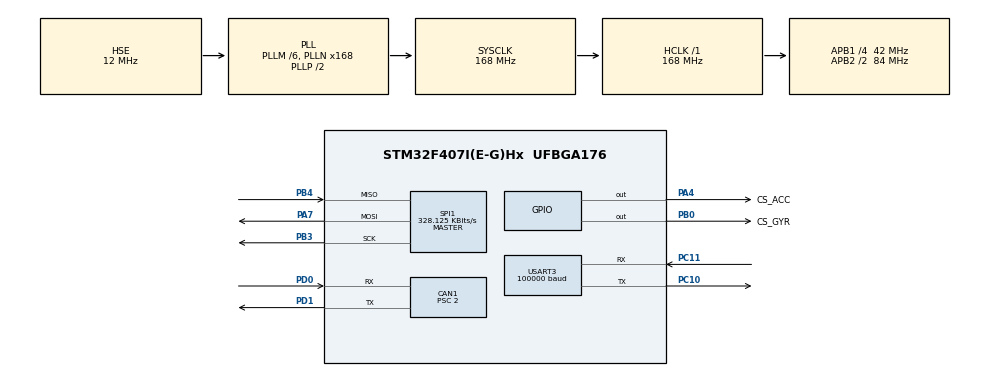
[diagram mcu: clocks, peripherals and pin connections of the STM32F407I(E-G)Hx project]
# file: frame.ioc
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CAN1.ABOM=ENABLE
CAN1.BS1=CAN_BS1_16TQ
CAN1.BS2=CAN_BS2_4TQ
CAN1.CalculateBaudRate=1000000
CAN1.CalculateTimeBit=1000
CAN1.CalculateTimeQuantum=47.61904761904762
CAN1.Prescaler=2
Dma.Request0=USART3_RX
Dma.Request1=USART3_TX
Dma.USART3_RX.0.Direction=DMA_PERIPH_TO_MEMORY
Dma.USART3_RX.0.FIFOMode=DMA_FIFOMODE_DISABLE
Dma.USART3_RX.0.Instance=DMA1_Stream1
Dma.USART3_RX.0.MemDataAlignment=DMA_MDATAALIGN_BYTE
Dma.USART3_RX.0.MemInc=DMA_MINC_ENABLE
Dma.USART3_RX.0.Mode=DMA_NORMAL
Dma.USART3_RX.0.PeriphDataAlignment=DMA_PDATAALIGN_BYTE
Dma.USART3_RX.0.PeriphInc=DMA_PINC_DISABLE
Dma.USART3_RX.0.Priority=DMA_PRIORITY_LOW
Dma.USART3_TX.1.Direction=DMA_MEMORY_TO_PERIPH
Dma.USART3_TX.1.FIFOMode=DMA_FIFOMODE_DISABLE
Dma.USART3_TX.1.Instance=DMA1_Stream3
Dma.USART3_TX.1.MemDataAlignment=DMA_MDATAALIGN_BYTE
Dma.USART3_TX.1.MemInc=DMA_MINC_ENABLE
Dma.USART3_TX.1.Mode=DMA_NORMAL
Dma.USART3_TX.1.PeriphDataAlignment=DMA_PDATAALIGN_BYTE
Dma.USART3_TX.1.PeriphInc=DMA_PINC_DISABLE
Dma.USART3_TX.1.Priority=DMA_PRIORITY_LOW
IWDG.Prescaler=IWDG_PRESCALER_8
IWDG.Reload=2668-1
Mcu.Family=STM32F4
Mcu.Name=STM32F407I(E-G)Hx
Mcu.Package=UFBGA176
NVIC.CAN1_RX0_IRQn=true\:0\:0\:false\:false\:true\:true\:true\:true
NVIC.CAN1_RX1_IRQn=true\:0\:0\:false\:false\:true\:true\:true\:true
NVIC.CAN1_SCE_IRQn=true\:0\:0\:false\:false\:true\:true\:true\:true
NVIC.CAN1_TX_IRQn=true\:0\:0\:false\:false\:true\:true\:true\:true
NVIC.DMA1_Stream1_IRQn=true\:0\:0\:false\:false\:true\:false\:true\:true
NVIC.DMA1_Stream3_IRQn=true\:0\:0\:false\:false\:true\:false\:true\:true
NVIC.PriorityGroup=NVIC_PRIORITYGROUP_4
NVIC.TIM1_BRK_TIM9_IRQn=true\:0\:0\:false\:false\:true\:true\:true\:true
NVIC.TIM1_TRG_COM_TIM11_IRQn=true\:0\:0\:false\:false\:true\:true\:true\:true
NVIC.TIM1_UP_TIM10_IRQn=true\:0\:0\:false\:false\:true\:true\:true\:true
NVIC.USART3_IRQn=true\:0\:0\:false\:false\:true\:false\:true\:true
PA13.Mode=Serial_Wire
PA13.Signal=SYS_JTMS-SWDIO
PA14.Mode=Serial_Wire
PA14.Signal=SYS_JTCK-SWCLK
PA4.GPIO_Label=CS_ACC
PA4.PinState=GPIO_PIN_SET
PA4.Signal=GPIO_Output
PA7.Mode=Full_Duplex_Master
PA7.Signal=SPI1_MOSI
PB0.GPIO_Label=CS_GYR
PB0.PinState=GPIO_PIN_SET
PB0.Signal=GPIO_Output
PB3.Mode=Full_Duplex_Master
PB3.Signal=SPI1_SCK
PB4.Mode=Full_Duplex_Master
PB4.Signal=SPI1_MISO
PC10.Mode=Asynchronous
PC10.Signal=USART3_TX
PC11.Mode=Asynchronous
PC11.Signal=USART3_RX
PD0.Mode=CAN_Activate
PD0.Signal=CAN1_RX
PD1.Mode=CAN_Activate
PD1.Signal=CAN1_TX
PH0-OSC_IN.Mode=HSE-External-Oscillator
PH0-OSC_IN.Signal=RCC_OSC_IN
PH1-OSC_OUT.Mode=HSE-External-Oscillator
PH1-OSC_OUT.Signal=RCC_OSC_OUT
ProjectManager.HeapSize=0x200
ProjectManager.StackSize=0x400
ProjectManager.TargetToolchain=STM32CubeIDE
RCC.48MHZClocksFreq_Value=84000000
RCC.AHBFreq_Value=168000000
RCC.APB1CLKDivider=RCC_HCLK_DIV4
RCC.APB1Freq_Value=42000000
RCC.APB1TimFreq_Value=84000000
RCC.APB2CLKDivider=RCC_HCLK_DIV2
RCC.APB2Freq_Value=84000000
RCC.APB2TimFreq_Value=168000000
RCC.CortexFreq_Value=168000000
RCC.HCLKFreq_Value=168000000
RCC.HSE_VALUE=12000000
RCC.HSI_VALUE=16000000
RCC.LSE_VALUE=32768
RCC.PLLM=6
RCC.PLLN=168
RCC.PLLSourceVirtual=RCC_PLLSOURCE_HSE
RCC.SYSCLKFreq_VALUE=168000000
RCC.SYSCLKSource=RCC_SYSCLKSOURCE_PLLCLK
RCC.VCOOutputFreq_Value=336000000
SPI1.BaudRatePrescaler=SPI_BAUDRATEPRESCALER_256
SPI1.CLKPhase=SPI_PHASE_2EDGE
SPI1.CLKPolarity=SPI_POLARITY_HIGH
SPI1.CalculateBaudRate=328.125 KBits/s
SPI1.Direction=SPI_DIRECTION_2LINES
SPI1.Mode=SPI_MODE_MASTER
SPI1.VirtualType=VM_MASTER
TIM1.Period=1000-1
TIM1.Prescaler=168-1
USART3.BaudRate=100000
USART3.Parity=PARITY_EVEN
USART3.VirtualMode=VM_ASYNC
USART3.WordLength=WORDLENGTH_9B
VP_IWDG_VS_IWDG.Mode=IWDG_Activate
VP_TIM1_VS_ClockSourceINT.Mode=Internal
board=custom

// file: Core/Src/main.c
/* USER CODE BEGIN Header */
/**
  ******************************************************************************
  * @file           : main.c
  * @brief          : Main program body
  ******************************************************************************
  * @attention
  *
  * Copyright (c) 2024 STMicroelectronics.
  * All rights reserved.
  *
  * This software is licensed under terms that can be found in the LICENSE file
  * in the root directory of this software component.
  * If no LICENSE file comes with this software, it is provided AS-IS.
  *
  ******************************************************************************
  */
/* USER CODE END Header */
#include "main.h"
#include "can.h"
#include "dma.h"
#include "iwdg.h"
#include "spi.h"
#include "tim.h"
#include "usart.h"
#include "gpio.h"

/* USER CODE BEGIN Includes */
#include "../../user/imu_read/IMU.h"
#include "../../user/remotecontrol/rc_def.h"

/* USER CODE END Includes */

void SystemClock_Config(void);

/* USER CODE BEGIN 0 */
float accel[3];
float gyro[3];

uint8_t i = 0;
uint8_t imu_rx_data[8];
uint8_t imu_tx_data;
uint8_t range;
uint8_t return_data;
CAN_FilterTypeDef FilterConfig = {0, 0, 0, 0, CAN_FILTER_FIFO0, 14, CAN_FILTERMODE_IDMASK, CAN_FILTERSCALE_32BIT, ENABLE};

/* USER CODE END 0 */

int main(void)
{

  /* MCU Configuration--------------------------------------------------------*/

  /* Reset of all peripherals, Initializes the Flash interface and the Systick. */
  HAL_Init();

  /* Configure the system clock */
  SystemClock_Config();

  /* Initialize all configured peripherals */
  MX_GPIO_Init();
  MX_DMA_Init();
  MX_USART3_UART_Init();
  MX_CAN1_Init();
  MX_TIM1_Init();
//  MX_IWDG_Init();
  MX_SPI1_Init();
  /* USER CODE BEGIN 2 */
  HAL_TIM_Base_Start_IT(&htim1);

  HAL_CAN_ConfigFilter(&hcan1, &FilterConfig);
  HAL_CAN_Start(&hcan1);
  HAL_CAN_ActivateNotification(&hcan1, CAN_IT_RX_FIFO0_MSG_PENDING);

  BMI088_Init();
  BMI088_ReadReg_GYRO(0x00, &return_data, 1);
  BMI088_WriteReg(0x41, 0x02);
  BMI088_ReadReg_ACCEL(0x41, &return_data, 1);
  range = return_data;

  HAL_UARTEx_ReceiveToIdle_DMA(&huart3, buffer, sizeof(buffer));
  /* USER CODE END 2 */

  /* Infinite loop */
  while (1)
  {

  }
}

void SystemClock_Config(void)
{
  RCC_OscInitTypeDef RCC_OscInitStruct = {0};
  RCC_ClkInitTypeDef RCC_ClkInitStruct = {0};

  /** Configure the main internal regulator output voltage
  */
  __HAL_RCC_PWR_CLK_ENABLE();
  __HAL_PWR_VOLTAGESCALING_CONFIG(PWR_REGULATOR_VOLTAGE_SCALE1);

  /** Initializes the RCC Oscillators according to the specified parameters
  * in the RCC_OscInitTypeDef structure.
  */
  RCC_OscInitStruct.OscillatorType = RCC_OSCILLATORTYPE_LSI|RCC_OSCILLATORTYPE_HSE;
  RCC_OscInitStruct.HSEState = RCC_HSE_ON;
  RCC_OscInitStruct.LSIState = RCC_LSI_ON;
  RCC_OscInitStruct.PLL.PLLState = RCC_PLL_ON;
  RCC_OscInitStruct.PLL.PLLSource = RCC_PLLSOURCE_HSE;
  RCC_OscInitStruct.PLL.PLLM = 6;
  RCC_OscInitStruct.PLL.PLLN = 168;
  RCC_OscInitStruct.PLL.PLLP = RCC_PLLP_DIV2;
  RCC_OscInitStruct.PLL.PLLQ = 4;
  if (HAL_RCC_OscConfig(&RCC_OscInitStruct) != HAL_OK)
  {
    Error_Handler();
  }

  /** Initializes the CPU, AHB and APB buses clocks
  */
  RCC_ClkInitStruct.ClockType = RCC_CLOCKTYPE_HCLK|RCC_CLOCKTYPE_SYSCLK
                              |RCC_CLOCKTYPE_PCLK1|RCC_CLOCKTYPE_PCLK2;
  RCC_ClkInitStruct.SYSCLKSource = RCC_SYSCLKSOURCE_PLLCLK;
  RCC_ClkInitStruct.AHBCLKDivider = RCC_SYSCLK_DIV1;
  RCC_ClkInitStruct.APB1CLKDivider = RCC_HCLK_DIV4;
  RCC_ClkInitStruct.APB2CLKDivider = RCC_HCLK_DIV2;

  if (HAL_RCC_ClockConfig(&RCC_ClkInitStruct, FLASH_LATENCY_5) != HAL_OK)
  {
    Error_Handler();
  }
}

void Error_Handler(void)
{
  __disable_irq();
  while (1)
  {
  }
}
